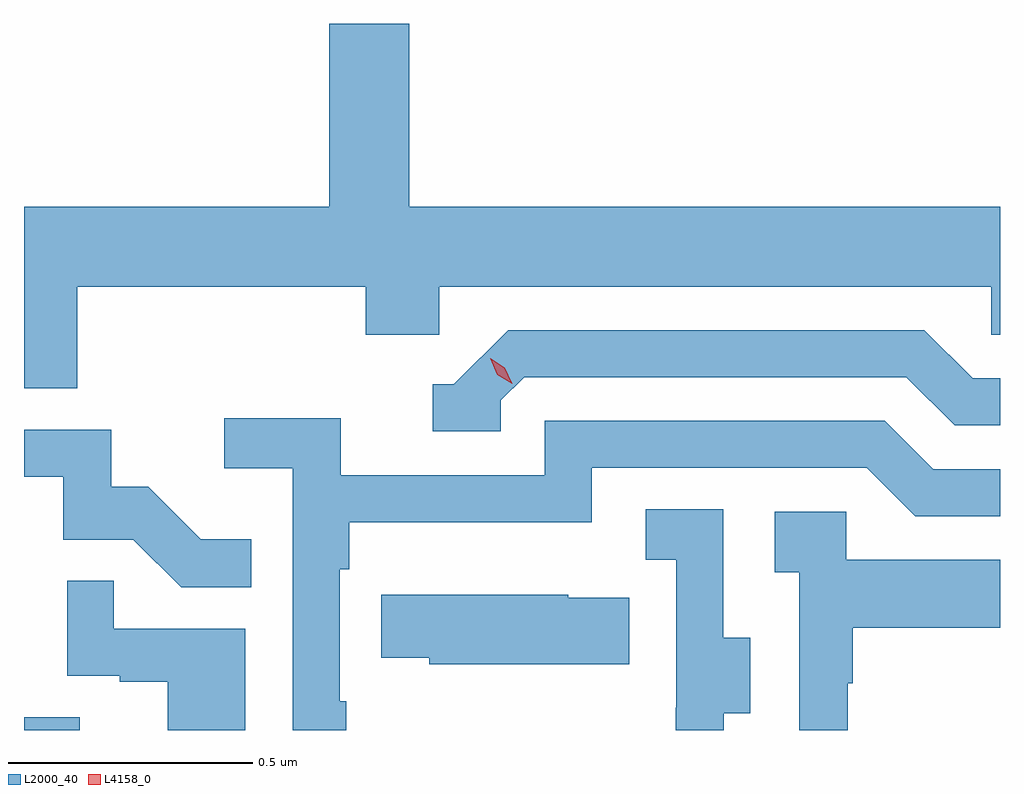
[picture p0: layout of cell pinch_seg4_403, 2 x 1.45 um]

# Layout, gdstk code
import gdstk
lib = gdstk.Library(unit=1e-6, precision=1e-09)
def R(c, l, rs):  # rectangles x0, y0, x1, y1
    for r in rs: c.add(gdstk.rectangle(r[:2], r[2:], *l))
def P(c, l, *ps):  # polygons
    for p in ps: c.add(gdstk.Polygon(p, *l))
L2000_40 = (2000, 40)
L4158_0 = (4158, 0)

pinch_seg4_403 = lib.new_cell('pinch_seg4_403')
R(pinch_seg4_403, L2000_40, [(979.567,787.919,979.681,787.946)])
P(pinch_seg4_403, L2000_40, [(979.676,788.828),(980.267,788.828),(980.267,788.73),(980.418,788.73),(980.418,788.828),(981.549,788.828),(981.549,788.73),(981.567,788.73),(981.567,788.992),(980.356,788.992),(980.356,789.367),(980.192,789.367),(980.192,788.992),(979.567,788.992),(979.567,788.62),(979.676,788.62)],
  [(980.544,788.595),(980.592,788.643),(981.375,788.643),(981.474,788.544),(981.567,788.544),(981.567,788.64),(981.511,788.64),(981.412,788.739),(980.559,788.739),(980.448,788.628),(980.405,788.628),(980.405,788.532),(980.544,788.532)],
  [(980.227,787.979),(980.214,787.979),(980.214,788.249),(980.234,788.249),(980.234,788.345),(980.73,788.345),(980.73,788.457),(981.294,788.457),(981.393,788.358),(981.567,788.358),(981.567,788.454),(981.43,788.454),(981.331,788.553),(980.634,788.553),(980.634,788.442),(980.216,788.442),(980.216,788.558),(979.977,788.558),(979.977,788.456),(980.118,788.456),(980.118,787.919),(980.227,787.919)],
  [(980.033,788.311),(979.929,788.311),(979.822,788.418),(979.746,788.418),(979.746,788.535),(979.567,788.535),(979.567,788.439),(979.647,788.439),(979.647,788.31),(979.791,788.31),(979.889,788.212),(980.033,788.212)],
  [(981.001,787.954),(981.055,787.954),(981.055,788.109),(981,788.109),(981,788.372),(980.841,788.372),(980.841,788.269),(980.904,788.269),(980.904,787.965),(980.903,787.965),(980.903,787.919),(981.001,787.919)],
  [(981.255,788.015),(981.265,788.015),(981.265,788.129),(981.567,788.129),(981.567,788.269),(981.252,788.269),(981.252,788.367),(981.105,788.367),(981.105,788.243),(981.156,788.243),(981.156,787.919),(981.255,787.919)],
  [(980.02,788.127),(979.751,788.127),(979.751,788.225),(979.656,788.225),(979.656,788.031),(979.763,788.031),(979.763,788.019),(979.862,788.019),(979.862,787.919),(980.02,787.919)],
  [(980.807,788.191),(980.682,788.191),(980.682,788.197),(980.299,788.197),(980.299,788.068),(980.397,788.068),(980.397,788.054),(980.807,788.054)])
P(pinch_seg4_403, L4158_0, [(980.567,788.629),(980.537,788.648),(980.522,788.681),(980.522,788.681),(980.522,788.681),(980.552,788.662),(980.567,788.629),(980.567,788.629)])

lib.write_gds('pinch_seg4_403.gds')
